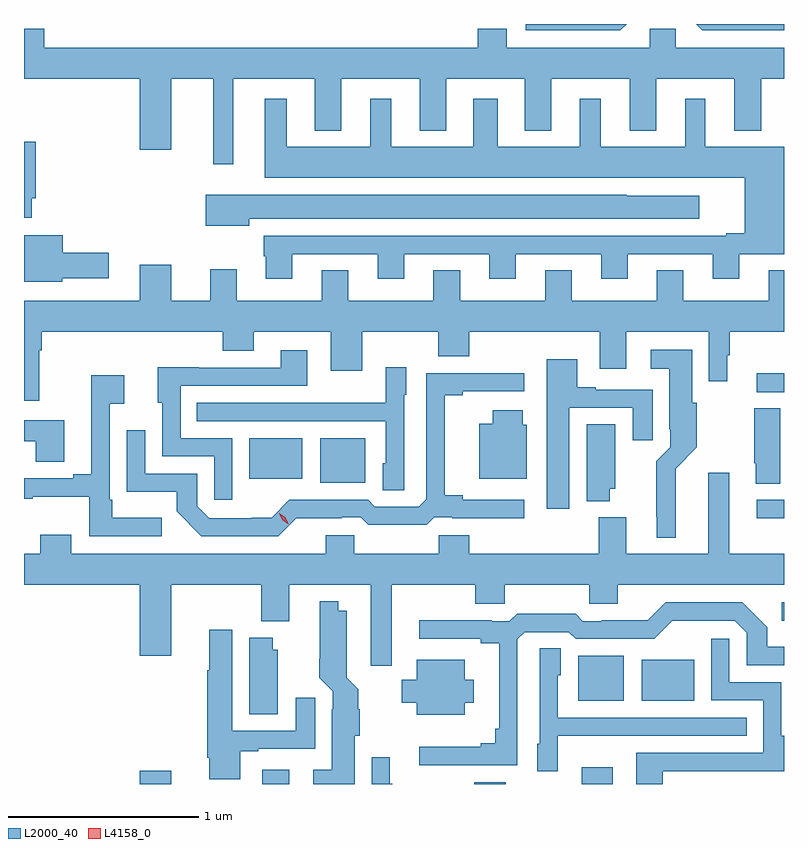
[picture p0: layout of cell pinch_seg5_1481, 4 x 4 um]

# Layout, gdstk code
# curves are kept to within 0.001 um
import gdstk
lib = gdstk.Library(unit=1e-6, precision=1e-09)
def R(c, l, rs):  # rectangles x0, y0, x1, y1
    for r in rs: c.add(gdstk.rectangle(r[:2], r[2:], *l))
def P(c, l, *ps):  # polygons
    for p in ps: c.add(gdstk.Polygon(p, *l))
L2000_40 = (2000, 40)
L4158_0 = (4158, 0)

pinch_seg5_1481 = lib.new_cell('pinch_seg5_1481')
R(pinch_seg5_1481, L2000_40, [(272.9,841.06,273.064,841.129), (273.545,841.06,273.685,841.135), (274.661,841.06,274.825,841.069), (275.225,841.06,275.389,841.147), (275.207,841.499,275.446,841.735), (275.54,841.499,275.818,841.714), (276.279,841.919,276.29,842.016), (276.147,842.46,276.29,842.556), (273.848,842.645,274.087,842.881), (273.476,842.666,273.754,842.881), (276.147,843.123,276.29,843.222)])
P(pinch_seg5_1481, L2000_40, [(276.29,845.06),(275.827,845.06),(275.859,845.028),(276.29,845.028)],
  [(275.462,845.06),(274.932,845.06),(274.932,845.027),(275.429,845.027)],
  [(272.396,845.035),(272.29,845.035),(272.29,844.772),(272.9,844.772),(272.9,844.398),(273.064,844.398),(273.064,844.772),(273.287,844.772),(273.287,844.323),(273.391,844.323),(273.391,844.772),(273.821,844.772),(273.821,844.499),(273.961,844.499),(273.961,844.772),(274.373,844.772),(274.373,844.499),(274.513,844.499),(274.513,844.772),(274.925,844.772),(274.925,844.499),(275.065,844.499),(275.065,844.772),(275.477,844.772),(275.477,844.499),(275.617,844.499),(275.617,844.772),(276.029,844.772),(276.029,844.499),(276.169,844.499),(276.169,844.772),(276.29,844.772),(276.29,844.936),(275.721,844.936),(275.721,845.034),(275.583,845.034),(275.583,844.936),(274.831,844.936),(274.831,845.035),(274.679,845.035),(274.679,844.936),(272.396,844.936)],
  [(273.703,843.849),(274.151,843.849),(274.151,843.72),(274.291,843.72),(274.291,843.849),(274.739,843.849),(274.739,843.72),(274.879,843.72),(274.879,843.849),(275.327,843.849),(275.327,843.72),(275.467,843.72),(275.467,843.849),(275.915,843.849),(275.915,843.72),(276.055,843.72),(276.055,843.848),(276.29,843.848),(276.29,844.414),(275.875,844.414),(275.875,844.666),(275.771,844.666),(275.771,844.414),(275.326,844.414),(275.326,844.666),(275.216,844.666),(275.216,844.414),(274.783,844.414),(274.783,844.666),(274.655,844.666),(274.655,844.414),(274.222,844.414),(274.222,844.666),(274.112,844.666),(274.112,844.414),(273.673,844.414),(273.673,844.666),(273.557,844.666),(273.557,844.25),(276.083,844.25),(276.083,843.958),(275.987,843.958),(275.987,843.945),(273.551,843.945),(273.551,843.837),(273.563,843.837),(273.563,843.72),(273.703,843.72)],
  [(272.331,844.144),(272.351,844.144),(272.351,844.441),(272.29,844.441),(272.29,844.04),(272.331,844.04)],
  [(273.475,844.034),(275.845,844.034),(275.845,844.156),(275.463,844.156),(275.463,844.162),(273.246,844.162),(273.246,843.998),(273.475,843.998)],
  [(272.49,843.722),(272.737,843.722),(272.737,843.857),(272.494,843.857),(272.494,843.949),(272.29,843.949),(272.29,843.704),(272.49,843.704)],
  [(274.069,843.44),(274.469,843.44),(274.469,843.312),(274.633,843.312),(274.633,843.44),(275.321,843.44),(275.321,843.246),(275.461,843.246),(275.461,843.44),(275.895,843.44),(275.895,843.18),(275.992,843.18),(275.992,843.316),(276.004,843.316),(276.004,843.44),(276.29,843.44),(276.29,843.763),(276.209,843.763),(276.209,843.604),(275.761,843.604),(275.761,843.764),(275.621,843.764),(275.621,843.604),(275.173,843.604),(275.173,843.764),(275.033,843.764),(275.033,843.604),(274.585,843.604),(274.585,843.764),(274.445,843.764),(274.445,843.604),(273.997,843.604),(273.997,843.764),(273.857,843.764),(273.857,843.604),(273.409,843.604),(273.409,843.769),(273.269,843.769),(273.269,843.604),(273.064,843.604),(273.064,843.793),(272.9,843.793),(272.9,843.604),(272.29,843.604),(272.29,843.078),(272.371,843.078),(272.371,843.344),(272.384,843.344),(272.384,843.44),(273.335,843.44),(273.335,843.341),(273.499,843.341),(273.499,843.44),(273.905,843.44),(273.905,843.234),(274.069,843.234)],
  [(275.719,842.72),(275.832,842.833),(275.832,843.066),(275.806,843.066),(275.806,843.346),(275.589,843.346),(275.589,843.245),(275.687,843.245),(275.687,842.926),(275.691,842.926),(275.691,842.832),(275.617,842.758),(275.617,842.467),(275.621,842.467),(275.621,842.357),(275.719,842.357)],
  [(273.387,842.88),(273.114,842.88),(273.114,843.156),(273.781,843.156),(273.781,843.343),(273.641,843.343),(273.641,843.252),(273.211,843.252),(273.211,843.254),(272.993,843.254),(272.993,843.066),(273.018,843.066),(273.018,842.784),(273.291,842.784),(273.291,842.556),(273.387,842.556)],
  [(275.161,843.039),(275.495,843.039),(275.495,842.868),(275.599,842.868),(275.599,843.135),(275.299,843.135),(275.299,843.148),(275.203,843.148),(275.203,843.295),(275.042,843.295),(275.042,842.508),(275.161,842.508)],
  [(274.29,843.108),(274.303,843.108),(274.303,843.253),(274.194,843.253),(274.194,843.067),(273.877,843.067),(273.877,843.066),(273.199,843.066),(273.199,842.97),(274.194,842.97),(274.194,842.748),(274.178,842.748),(274.178,842.605),(274.29,842.605)],
  [(273.722,842.459),(273.962,842.459),(273.962,842.463),(274.062,842.463),(274.102,842.424),(274.409,842.424),(274.449,842.463),(274.543,842.463),(274.543,842.459),(274.924,842.459),(274.924,842.556),(274.6,842.556),(274.6,842.579),(274.505,842.579),(274.505,843.106),(274.6,843.106),(274.6,843.126),(274.924,843.126),(274.924,843.222),(274.407,843.222),(274.407,842.559),(274.368,842.52),(274.137,842.52),(274.101,842.556),(273.687,842.556),(273.593,842.462),(273.488,842.462),(273.488,842.46),(273.264,842.46),(273.201,842.523),(273.201,842.694),(272.928,842.694),(272.928,842.923),(272.832,842.923),(272.832,842.597),(273.094,842.597),(273.094,842.495),(273.224,842.364),(273.627,842.364)],
  [(273.016,842.461),(272.755,842.461),(272.755,842.557),(272.742,842.557),(272.742,843.062),(272.818,843.062),(272.818,843.211),(272.645,843.211),(272.645,842.689),(272.549,842.689),(272.549,842.67),(272.29,842.67),(272.29,842.562),(272.335,842.562),(272.335,842.573),(272.634,842.573),(272.634,842.364),(273.016,842.364)],
  [(276.271,843.038),(276.133,843.038),(276.133,842.749),(276.14,842.749),(276.14,842.641),(276.271,842.641)],
  [(274.936,842.952),(274.915,842.952),(274.915,843.028),(274.757,843.028),(274.757,842.956),(274.685,842.956),(274.685,842.666),(274.936,842.666)],
  [(272.503,842.974),(272.29,842.974),(272.29,842.864),(272.351,842.864),(272.351,842.755),(272.503,842.755)],
  [(275.374,842.613),(275.401,842.613),(275.401,842.954),(275.252,842.954),(275.252,842.549),(275.374,842.549)],
  [(273.878,842.37),(273.878,842.272),(272.539,842.272),(272.539,842.371),(272.375,842.371),(272.375,842.272),(272.29,842.272),(272.29,842.108),(272.9,842.108),(272.9,841.734),(273.064,841.734),(273.064,842.108),(273.538,842.108),(273.538,841.916),(273.685,841.916),(273.685,842.108),(274.115,842.108),(274.115,841.683),(274.225,841.683),(274.225,842.108),(274.666,842.108),(274.666,842.01),(274.821,842.01),(274.821,842.108),(275.266,842.108),(275.266,842.01),(275.416,842.01),(275.416,842.108),(276.29,842.108),(276.29,842.272),(276.001,842.272),(276.001,842.698),(275.891,842.698),(275.891,842.272),(275.461,842.272),(275.461,842.464),(275.314,842.464),(275.314,842.272),(274.634,842.272),(274.634,842.37),(274.474,842.37),(274.474,842.272),(274.029,842.272),(274.029,842.37)],
  [(274.03,841.314),(274.056,841.314),(274.056,841.454),(274.048,841.454),(274.048,841.559),(273.989,841.618),(273.988,841.972),(273.943,841.972),(273.943,842.023),(273.846,842.023),(273.845,841.618),(273.915,841.548),(273.915,841.454),(273.911,841.454),(273.911,841.135),(273.813,841.135),(273.813,841.06),(274.03,841.06)],
  [(274.887,841.821),(274.926,841.86),(275.157,841.86),(275.193,841.824),(275.607,841.824),(275.702,841.919),(276.03,841.92),(276.093,841.857),(276.093,841.686),(276.29,841.686),(276.29,841.783),(276.201,841.783),(276.201,841.886),(276.07,842.016),(275.667,842.016),(275.573,841.922),(275.332,841.922),(275.332,841.917),(275.232,841.917),(275.193,841.957),(274.885,841.957),(274.845,841.917),(274.751,841.917),(274.751,841.922),(274.371,841.922),(274.371,841.824),(274.694,841.824),(274.694,841.802),(274.79,841.802),(274.79,841.351),(274.771,841.351),(274.771,841.274),(274.694,841.274),(274.694,841.255),(274.371,841.255),(274.371,841.158),(274.887,841.158)],
  [(273.427,841.233),(273.523,841.233),(273.523,841.245),(273.823,841.245),(273.823,841.513),(273.719,841.513),(273.719,841.341),(273.385,841.341),(273.385,841.873),(273.266,841.873),(273.266,841.66),(273.254,841.66),(273.254,841.198),(273.266,841.198),(273.266,841.086),(273.427,841.086)],
  [(273.625,841.767),(273.598,841.767),(273.598,841.831),(273.476,841.831),(273.476,841.426),(273.625,841.426)],
  [(275.653,841.128),(276.083,841.128),(276.083,841.127),(276.29,841.127),(276.29,841.314),(276.276,841.314),(276.276,841.596),(276.003,841.596),(276.003,841.825),(275.907,841.825),(275.907,841.5),(276.18,841.5),(276.18,841.224),(275.513,841.224),(275.513,841.06),(275.653,841.06)],
  [(275.1,841.313),(275.417,841.313),(275.417,841.314),(276.095,841.314),(276.095,841.41),(275.1,841.41),(275.1,841.632),(275.116,841.632),(275.116,841.775),(275.004,841.775),(275.004,841.272),(274.991,841.272),(274.991,841.128),(275.1,841.128)],
  [(274.609,841.487),(274.657,841.487),(274.657,841.609),(274.609,841.609),(274.609,841.714),(274.358,841.714),(274.358,841.609),(274.277,841.609),(274.277,841.487),(274.358,841.487),(274.358,841.424),(274.609,841.424)],
  [(274.228,841.061),(274.216,841.061),(274.216,841.201),(274.119,841.201),(274.119,841.06),(274.228,841.06)])
P(pinch_seg5_1481, L4158_0, [(273.679,842.431),(273.649,842.452),(273.634,842.486),(273.634,842.486),(273.634,842.486),(273.664,842.465),(273.68,842.431),(273.68,842.431)])

lib.write_gds('pinch_seg5_1481.gds')
